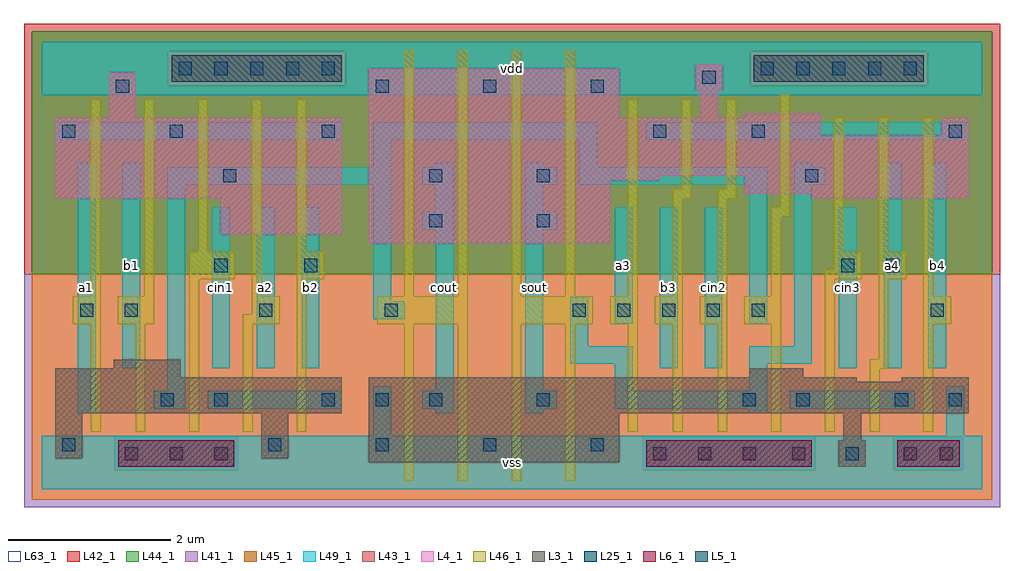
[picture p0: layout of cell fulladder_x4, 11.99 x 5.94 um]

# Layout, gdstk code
import gdstk
lib = gdstk.Library(unit=1e-6, precision=1e-09)
def R(c, l, rs):  # rectangles x0, y0, x1, y1
    for r in rs: c.add(gdstk.rectangle(r[:2], r[2:], *l))
def A(c, l, x, y, w, h, nx, ny, dx, dy):  # array of equal rectangles
    R(c, l, [(x+i*dx, y+j*dy, x+i*dx+w, y+j*dy+h) for i in range(nx) for j in range(ny)])
L3_1 = (3, 1)
L4_1 = (4, 1)
L5_1 = (5, 1)
L6_1 = (6, 1)
L25_1 = (25, 1)
L41_1 = (41, 1)
L42_1 = (42, 1)
L43_1 = (43, 1)
L44_1 = (44, 1)
L45_1 = (45, 1)
L46_1 = (46, 1)
L49_1 = (49, 1)
L63_1 = (63, 1)

fulladder_x4 = lib.new_cell('fulladder_x4')
R(fulladder_x4, L3_1, [(9.79,0.275,10.12,0.605), (4.015,0.33,7.095,0.935), (0.165,0.385,0.495,0.935), (2.695,0.385,3.025,0.935), (9.845,0.605,10.065,0.935), (0.165,0.935,3.685,1.375), (4.015,0.935,11.385,1.32), (4.015,1.32,10.01,1.375), (10.56,1.32,11.385,1.375), (0.165,1.375,1.705,1.485), (8.69,1.375,9.35,1.485), (0.88,1.485,1.705,1.595)])
R(fulladder_x4, L4_1, [(4.015,3.025,6.985,3.795), (2.2,3.135,3.685,3.575), (0.165,3.575,3.685,4.565), (9.46,3.575,11.385,3.63), (8.635,3.63,11.385,3.85), (4.015,3.795,7.59,3.85), (4.015,3.85,11.385,4.345), (4.015,4.345,9.57,4.565), (11.055,4.345,11.385,4.565), (0.825,4.565,1.155,5.115), (4.015,4.565,7.095,5.17), (8.085,4.565,8.305,4.895), (8.635,4.565,9.57,4.62), (8.03,4.895,8.36,5.225)])
R(fulladder_x4, L5_1, [(1.595,5.005,3.685,5.335), (8.745,5.005,10.835,5.335)])
R(fulladder_x4, L6_1, [(0.935,0.275,2.365,0.605), (7.425,0.275,9.46,0.605), (10.505,0.275,11.275,0.605)])
A(fulladder_x4, L25_1, 1.02, 0.36, 0.16, 0.16, 3, 1, 0.55, 0)
A(fulladder_x4, L25_1, 7.51, 0.36, 0.16, 0.16, 3, 1, 0.55, 0)
A(fulladder_x4, L25_1, 2.78, 0.47, 0.16, 0.16, 4, 1, 1.32, 0)
A(fulladder_x4, L25_1, 3.44, 1.02, 0.16, 0.16, 3, 1, 0.66, 0)
A(fulladder_x4, L25_1, 6.52, 2.12, 0.16, 0.16, 5, 1, 0.55, 0)
A(fulladder_x4, L25_1, 4.1, 4.87, 0.16, 0.16, 3, 1, 1.32, 0)
A(fulladder_x4, L25_1, 1.68, 5.09, 0.16, 0.16, 5, 1, 0.44, 0)
A(fulladder_x4, L25_1, 8.83, 5.09, 0.16, 0.16, 5, 1, 0.44, 0)
R(fulladder_x4, L25_1, [(9.215,0.36,9.375,0.52), (9.875,0.36,10.035,0.52), (10.59,0.36,10.75,0.52), (11.03,0.36,11.19,0.52), (0.25,0.47,0.41,0.63), (1.46,1.02,1.62,1.18), (2.12,1.02,2.28,1.18), (6.08,1.02,6.24,1.18), (8.61,1.02,8.77,1.18), (9.27,1.02,9.43,1.18), (10.48,1.02,10.64,1.18), (11.14,1.02,11.3,1.18), (0.47,2.12,0.63,2.28), (1.02,2.12,1.18,2.28), (2.67,2.12,2.83,2.28), (4.21,2.12,4.37,2.28), (10.92,2.12,11.08,2.28), (2.12,2.67,2.28,2.83), (3.22,2.67,3.38,2.83), (9.82,2.67,9.98,2.83), (10.37,2.67,10.53,2.83), (4.76,3.22,4.92,3.38), (6.08,3.22,6.24,3.38), (2.23,3.77,2.39,3.93), (4.76,3.77,4.92,3.93), (6.08,3.77,6.24,3.93), (9.38,3.77,9.54,3.93), (0.25,4.32,0.41,4.48), (1.57,4.32,1.73,4.48), (3.44,4.32,3.6,4.48), (7.51,4.32,7.67,4.48), (8.72,4.32,8.88,4.48), (11.14,4.32,11.3,4.48), (0.91,4.87,1.07,5.03), (8.115,4.98,8.275,5.14)])
R(fulladder_x4, L41_1, [(-0.22,-0.22,11.77,2.64)])
R(fulladder_x4, L42_1, [(-0.22,2.64,11.77,5.72)])
R(fulladder_x4, L43_1, [(0.935,0.275,2.365,0.605), (7.425,0.275,9.46,0.605), (9.79,0.275,10.12,0.605), (10.505,0.275,11.275,0.605), (4.015,0.33,7.095,0.935), (0.165,0.385,0.495,0.935), (2.695,0.385,3.025,0.935), (9.845,0.605,10.065,0.935), (0.165,0.935,3.685,1.375), (4.015,0.935,11.385,1.32), (4.015,1.32,10.01,1.375), (10.56,1.32,11.385,1.375), (0.165,1.375,1.705,1.485), (8.69,1.375,9.35,1.485), (0.88,1.485,1.705,1.595), (4.015,3.025,6.985,3.795), (2.2,3.135,3.685,3.575), (0.165,3.575,3.685,4.565), (9.46,3.575,11.385,3.63), (8.635,3.63,11.385,3.85), (4.015,3.795,7.59,3.85), (4.015,3.85,11.385,4.345), (4.015,4.345,9.57,4.565), (11.055,4.345,11.385,4.565), (0.825,4.565,1.155,5.115), (4.015,4.565,7.095,5.17), (8.085,4.565,8.305,4.895), (8.635,4.565,9.57,4.62), (8.03,4.895,8.36,5.225), (1.595,5.005,3.685,5.335), (8.745,5.005,10.835,5.335)])
R(fulladder_x4, L44_1, [(0.895,0.235,2.405,0.645), (7.385,0.235,9.5,0.645), (10.465,0.235,11.315,0.645), (-0.125,2.64,11.675,4.965), (-0.125,4.965,1.555,5.375), (3.725,4.965,8.705,5.375), (10.875,4.965,11.675,5.375), (-0.125,5.375,11.675,5.625)])
R(fulladder_x4, L45_1, [(-0.125,-0.125,11.675,0.235), (-0.125,0.235,0.895,0.645), (2.405,0.235,7.385,0.645), (9.5,0.235,10.465,0.645), (11.315,0.235,11.675,0.645), (-0.125,0.645,11.675,2.64), (1.555,4.965,3.725,5.375), (8.705,4.965,10.875,5.375)])
A(fulladder_x4, L46_1, 4.45, 0.105, 0.12, 1.925, 4, 1, 0.66, 0)
A(fulladder_x4, L46_1, 7.2, 0.71, 0.12, 1.32, 3, 1, 0.55, 0)
A(fulladder_x4, L46_1, 6.98, 2.03, 0.34, 0.34, 3, 1, 0.55, 0)
A(fulladder_x4, L46_1, 4.45, 2.37, 0.12, 3.025, 4, 1, 0.66, 0)
R(fulladder_x4, L46_1, [(0.6,0.71,0.72,2.03), (1.15,0.71,1.27,2.03), (1.81,0.71,1.93,2.58), (2.47,0.71,2.59,2.03), (3.13,0.71,3.25,2.58), (8.96,0.71,9.08,2.03), (9.62,0.71,9.74,2.58), (10.17,0.71,10.29,1.48), (10.83,0.71,10.95,2.03), (10.17,1.48,10.4,1.6), (10.28,1.6,10.4,2.58), (0.38,2.03,0.72,2.37), (0.93,2.03,1.38,2.37), (2.47,2.03,2.92,2.15), (4.12,2.03,5.23,2.37), (5.77,2.03,6.77,2.37), (8.63,2.03,9.08,2.37), (10.83,2.03,11.17,2.37), (2.58,2.15,2.92,2.37), (0.6,2.37,0.72,4.79), (1.26,2.37,1.38,4.79), (2.58,2.37,2.7,4.79), (7.2,2.37,7.32,4.79), (7.75,2.37,7.87,3.57), (8.3,2.37,8.42,3.57), (8.96,2.37,9.08,3.35), (10.83,2.37,10.95,4.57), (1.81,2.58,2.37,2.92), (3.13,2.58,3.47,2.92), (9.62,2.58,10.07,2.7), (10.28,2.58,10.62,2.92), (9.73,2.7,10.07,2.92), (1.92,2.92,2.04,4.79), (3.13,2.92,3.25,4.79), (9.73,2.92,9.85,4.57), (10.28,2.92,10.4,4.57), (8.96,3.35,9.19,3.47), (9.07,3.47,9.19,4.845), (7.75,3.57,7.98,3.69), (8.3,3.57,8.53,3.69), (7.86,3.69,7.98,4.79), (8.41,3.69,8.53,4.79)])
A(fulladder_x4, L49_1, 2.09, 1.485, 0.22, 1.98, 3, 1, 0.55, 0)
R(fulladder_x4, L49_1, [(0,0,11.55,0.66), (4.07,0.66,4.29,1.265), (11.11,0.66,11.33,1.265), (0.44,0.935,0.66,4.015), (4.84,0.935,5.06,0.99), (5.94,0.935,6.16,0.99), (8.69,0.935,8.91,0.99), (1.375,0.99,1.76,1.21), (2.035,0.99,3.685,1.21), (4.675,0.99,5.06,1.21), (5.94,0.99,6.325,1.21), (7.04,0.99,8.91,1.21), (9.185,0.99,10.725,1.21), (1.54,1.21,1.76,3.74), (4.84,1.21,5.06,3.19), (5.94,1.21,6.16,3.19), (7.04,1.21,7.26,1.54), (8.69,1.21,8.91,1.54), (0.99,1.485,1.21,4.015), (7.59,1.485,7.81,3.465), (8.14,1.485,8.36,3.465), (9.79,1.485,10.01,3.465), (10.34,1.485,10.56,4.015), (10.89,1.485,11.11,4.015), (6.49,1.54,7.26,1.76), (8.69,1.54,9.46,1.76), (6.49,1.76,6.71,2.365), (9.24,1.76,9.46,3.74), (7.04,2.035,7.26,3.465), (8.69,2.035,8.91,3.74), (4.07,2.09,4.455,2.31), (4.07,2.31,4.29,3.74), (4.675,3.19,5.06,3.41), (5.94,3.19,6.325,3.41), (4.84,3.41,5.06,3.74), (5.94,3.41,6.16,3.74), (1.54,3.74,4.29,3.96), (4.675,3.74,5.06,3.96), (5.94,3.74,6.325,3.96), (6.6,3.74,8.91,3.96), (9.24,3.74,9.625,3.96), (4.07,3.96,4.29,4.29), (4.84,3.96,5.06,4.015), (5.94,3.96,6.16,4.015), (6.6,3.96,6.82,4.29), (9.24,3.96,9.46,4.015), (0.165,4.29,3.685,4.51), (4.07,4.29,6.82,4.51), (7.425,4.29,11.385,4.51), (0,4.84,11.55,5.5)])
R(fulladder_x4, L63_1, [(0,0,11.55,5.5)])
fulladder_x4.add(gdstk.Label('b1', (1.1,2.75), layer=49, texttype=1))
fulladder_x4.add(gdstk.Label('a1', (0.55,2.475), layer=49, texttype=1))
fulladder_x4.add(gdstk.Label('cin1', (2.2,2.475), layer=49, texttype=1))
fulladder_x4.add(gdstk.Label('a2', (2.75,2.475), layer=49, texttype=1))
fulladder_x4.add(gdstk.Label('b2', (3.3,2.475), layer=49, texttype=1))
fulladder_x4.add(gdstk.Label('vss', (5.775,0.33), layer=49, texttype=1))
fulladder_x4.add(gdstk.Label('cout', (4.95,2.475), layer=49, texttype=1))
fulladder_x4.add(gdstk.Label('sout', (6.05,2.475), layer=49, texttype=1))
fulladder_x4.add(gdstk.Label('vdd', (5.775,5.17), layer=49, texttype=1))
fulladder_x4.add(gdstk.Label('a3', (7.15,2.75), layer=49, texttype=1))
fulladder_x4.add(gdstk.Label('b3', (7.7,2.475), layer=49, texttype=1))
fulladder_x4.add(gdstk.Label('cin2', (8.25,2.475), layer=49, texttype=1))
fulladder_x4.add(gdstk.Label('b4', (11,2.75), layer=49, texttype=1))
fulladder_x4.add(gdstk.Label('a4', (10.45,2.75), layer=49, texttype=1))
fulladder_x4.add(gdstk.Label('cin3', (9.9,2.475), layer=49, texttype=1))

lib.write_gds('fulladder_x4.gds')
